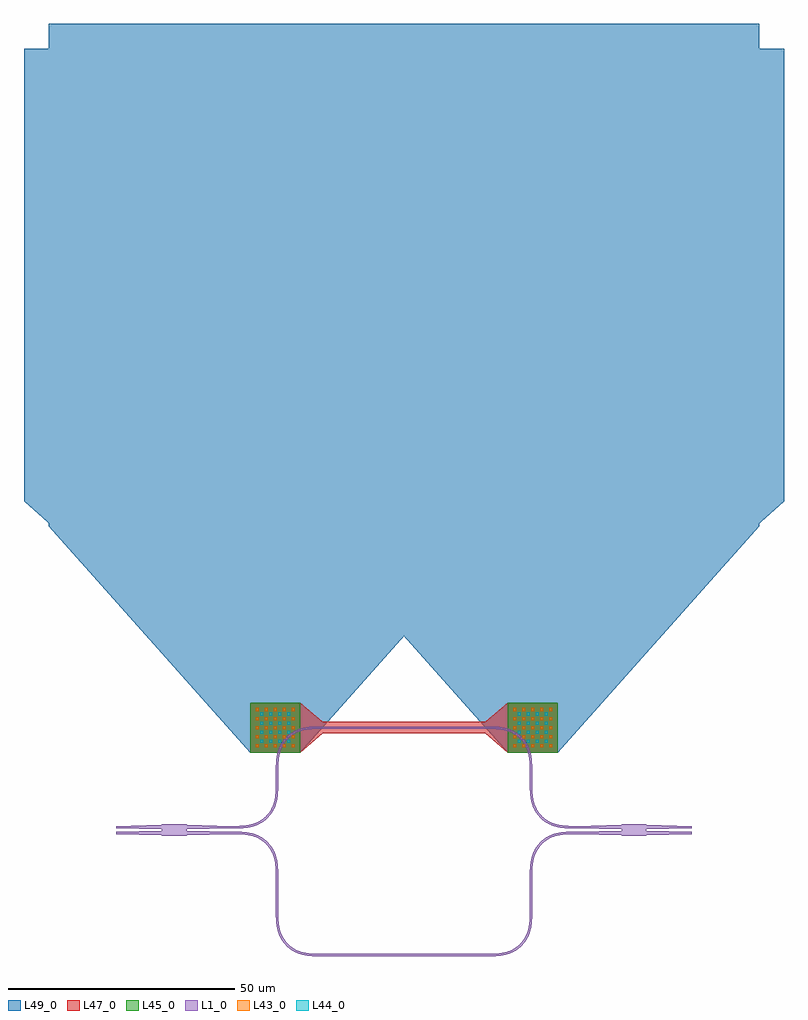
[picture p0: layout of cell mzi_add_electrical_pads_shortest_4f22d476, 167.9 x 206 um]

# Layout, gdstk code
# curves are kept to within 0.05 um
from math import pi, radians
import gdstk
lib = gdstk.Library(unit=1e-6, precision=1e-09)
def R(c, l, rs):  # rectangles x0, y0, x1, y1
    for r in rs: c.add(gdstk.rectangle(r[:2], r[2:], *l))
def P(c, l, *ps):  # polygons
    for p in ps: c.add(gdstk.Polygon(p, *l))
L1_0 = (1, 0)
L43_0 = (43, 0)
L44_0 = (44, 0)
L45_0 = (45, 0)
L47_0 = (47, 0)
L49_0 = (49, 0)

mmi2x2 = lib.new_cell('mmi2x2')
R(mmi2x2, L1_0, [(0,-1.25,5.5,1.25)])
P(mmi2x2, L1_0, [(-10,-0.375),(0,-0.125),(0,-1.125),(-10,-0.875)],
  [(-10,0.875),(0,1.125),(0,0.125),(-10,0.375)],
  [(15.5,0.375),(5.5,0.125),(5.5,1.125),(15.5,0.875)],
  [(15.5,-0.875),(5.5,-1.125),(5.5,-0.125),(15.5,-0.375)])

bend_euler = lib.new_cell('bend_euler')
P(bend_euler, L1_0, [(0,-0.25),(2.795,-0.158),(4.746,0.203),(5.688,0.543),(6.455,0.934),(7.285,1.5),(7.928,2.072),(8.5,2.715),(9.066,3.545),(9.457,4.312),(9.797,5.254),(10.158,7.205),(10.25,10),(9.75,10),(9.647,7.119),(9.48,6.048),(9.194,5.01),(8.495,3.569),(7.575,2.425),(6.431,1.505),(4.99,0.806),(3.952,0.52),(2.881,0.353),(0,0.25)])

straight_length7p0 = lib.new_cell('straight_length7p0')
R(straight_length7p0, L1_0, [(0,-0.25,7,0.25)])

straight_length0p1 = lib.new_cell('straight_length0p1')
R(straight_length0p1, L1_0, [(0,-0.25,0.1,0.25)])

straight_length2p0 = lib.new_cell('straight_length2p0')
R(straight_length2p0, L1_0, [(0,-0.25,2,0.25)])

straight_add_pinsfalse_l = lib.new_cell('straight_add_pinsFalse_length0p1')
R(straight_add_pinsfalse_l, L1_0, [(0,-0.25,0.1,0.25)])

straight_6e0386c1 = lib.new_cell('straight_6e0386c1')
R(straight_6e0386c1, L1_0, [(0,-0.25,17.95,0.25)])
R(straight_6e0386c1, L47_0, [(0,-1.25,17.95,1.25)])

component_sequence_8c6f5 = lib.new_cell('component_sequence_8c6f5426')
component_sequence_8c6f5.add(gdstk.Reference(straight_add_pinsfalse_l, (0,0)))
component_sequence_8c6f5.add(gdstk.Reference(straight_6e0386c1, (0.1,0)))
component_sequence_8c6f5.add(gdstk.Reference(straight_6e0386c1, (18.05,0)))
component_sequence_8c6f5.add(gdstk.Reference(straight_add_pinsfalse_l, (36,0)))

compass_d8224c77 = lib.new_cell('compass_d8224c77')
R(compass_d8224c77, L47_0, [(-5.5,-5.5,5.5,5.5)])

compass_layerm2_size11p0 = lib.new_cell('compass_layerM2_size11p0__11p0')
R(compass_layerm2_size11p0, L45_0, [(-5.5,-5.5,5.5,5.5)])

compass_layermtop_size11 = lib.new_cell('compass_layerMTOP_size11p0__11p0')
R(compass_layermtop_size11, L49_0, [(-5.5,-5.5,5.5,5.5)])

via_enclosure2_layervia1 = lib.new_cell('via_enclosure2_layerVIA1')
R(via_enclosure2_layervia1, L44_0, [(-0.35,-0.35,0.35,0.35)])

via_layervia2 = lib.new_cell('via_layerVIA2')
R(via_layervia2, L43_0, [(-0.35,-0.35,0.35,0.35)])

via_stack_a3b4e43e = lib.new_cell('via_stack_a3b4e43e')
via_stack_a3b4e43e.add(gdstk.Reference(compass_d8224c77, (0,0)))
via_stack_a3b4e43e.add(gdstk.Reference(compass_layerm2_size11p0, (0,0)))
via_stack_a3b4e43e.add(gdstk.Reference(compass_layermtop_size11, (0,0)))
r = gdstk.Reference(via_enclosure2_layervia1, (-3,-3)); r.repetition = gdstk.Repetition(4, 4, v1=(2,0), v2=(0,2)); via_stack_a3b4e43e.add(r)
r = gdstk.Reference(via_layervia2, (-4,-4)); r.repetition = gdstk.Repetition(5, 5, v1=(2,0), v2=(0,2)); via_stack_a3b4e43e.add(r)

taper_23f5216f = lib.new_cell('taper_23f5216f')
P(taper_23f5216f, L47_0, [(0,5.5),(5,1.25),(5,-1.25),(0,-5.5)])

straight_heater_metal_un = lib.new_cell('straight_heater_metal_undercut_7c702180')
straight_heater_metal_un.add(gdstk.Reference(component_sequence_8c6f5, (0,0)))
straight_heater_metal_un.add(gdstk.Reference(via_stack_a3b4e43e, (-10.4,0)))
straight_heater_metal_un.add(gdstk.Reference(via_stack_a3b4e43e, (46.5,0)))
straight_heater_metal_un.add(gdstk.Reference(taper_23f5216f, (-4.9,0)))
straight_heater_metal_un.add(gdstk.Reference(taper_23f5216f, (41,0), rotation=pi))

bend_euler_40ab4dd3 = lib.new_cell('bend_euler_40ab4dd3')
P(bend_euler_40ab4dd3, L1_0, [(0,-0.25),(2.795,-0.158),(4.746,0.203),(5.688,0.543),(6.455,0.934),(7.285,1.5),(7.928,2.072),(8.5,2.715),(9.066,3.545),(9.457,4.312),(9.797,5.254),(10.158,7.205),(10.25,10),(9.75,10),(9.647,7.119),(9.48,6.048),(9.194,5.01),(8.495,3.569),(7.575,2.425),(6.431,1.505),(4.99,0.806),(3.952,0.52),(2.881,0.353),(0,0.25)])

straight_e8b67d3c = lib.new_cell('straight_e8b67d3c')
R(straight_e8b67d3c, L1_0, [(0,-0.25,0.01,0.25)])

straight_299cef3a = lib.new_cell('straight_299cef3a')
R(straight_299cef3a, L1_0, [(0,-0.25,2,0.25)])

straight_840df451 = lib.new_cell('straight_840df451')
R(straight_840df451, L1_0, [(0,-0.25,36.01,0.25)])

straight_533918dc = lib.new_cell('straight_533918dc')
R(straight_533918dc, L1_0, [(0,-0.25,7,0.25)])

mzi_2e88f57c = lib.new_cell('mzi_2e88f57c')
mzi_2e88f57c.add(gdstk.Reference(mmi2x2, (0,0)))
mzi_2e88f57c.add(gdstk.Reference(mmi2x2, (107.12,0), rotation=pi, x_reflection=True))
mzi_2e88f57c.add(gdstk.Reference(bend_euler, (15.5,-0.625), x_reflection=True))
mzi_2e88f57c.add(gdstk.Reference(straight_length7p0, (25.5,-10.625), rotation=3*pi/2))
mzi_2e88f57c.add(gdstk.Reference(bend_euler, (25.5,-17.625), rotation=3*pi/2))
mzi_2e88f57c.add(gdstk.Reference(straight_length0p1, (35.5,-27.625)))
mzi_2e88f57c.add(gdstk.Reference(bend_euler, (15.5,0.625)))
mzi_2e88f57c.add(gdstk.Reference(straight_length2p0, (25.5,10.625), rotation=pi/2))
mzi_2e88f57c.add(gdstk.Reference(bend_euler, (35.5,22.625), rotation=pi))
mzi_2e88f57c.add(gdstk.Reference(straight_heater_metal_un, (35.5,22.625)))
mzi_2e88f57c.add(gdstk.Reference(bend_euler_40ab4dd3, (71.61,22.625), x_reflection=True))
mzi_2e88f57c.add(gdstk.Reference(bend_euler_40ab4dd3, (81.61,10.625), rotation=3*pi/2))
mzi_2e88f57c.add(gdstk.Reference(straight_e8b67d3c, (71.6,22.625)))
mzi_2e88f57c.add(gdstk.Reference(straight_299cef3a, (81.61,12.625), rotation=3*pi/2))
mzi_2e88f57c.add(gdstk.Reference(straight_e8b67d3c, (91.61,0.625)))
mzi_2e88f57c.add(gdstk.Reference(bend_euler_40ab4dd3, (71.61,-27.625)))
mzi_2e88f57c.add(gdstk.Reference(bend_euler_40ab4dd3, (81.61,-10.625), rotation=pi/2, x_reflection=True))
mzi_2e88f57c.add(gdstk.Reference(straight_840df451, (35.6,-27.625)))
mzi_2e88f57c.add(gdstk.Reference(straight_533918dc, (81.61,-17.625), rotation=pi/2))
mzi_2e88f57c.add(gdstk.Reference(straight_e8b67d3c, (91.61,-0.625)))

pad = lib.new_cell('pad')
R(pad, L49_0, [(-50,-50,50,50)])

route_quad_7878978f = lib.new_cell('route_quad_7878978f')
P(route_quad_7878978f, L49_0, [(-30.4,72.625),(69.6,72.625),(19.6,17.125),(19.6,28.125)])

route_quad_c13c2023 = lib.new_cell('route_quad_c13c2023')
P(route_quad_c13c2023, L49_0, [(26.5,72.625),(126.5,72.625),(76.5,17.125),(76.5,28.125)])

route_quad_38d41d28 = lib.new_cell('route_quad_38d41d28')
P(route_quad_38d41d28, L49_0, [(19.6,28.125),(-24.9,78.125),(75.1,78.125),(30.6,28.125)])

route_quad_a7f04c08 = lib.new_cell('route_quad_a7f04c08')
P(route_quad_a7f04c08, L49_0, [(76.5,28.125),(32,78.125),(132,78.125),(87.5,28.125)])

route_quad_b55b0e2b = lib.new_cell('route_quad_b55b0e2b')
P(route_quad_b55b0e2b, L49_0, [(-19.4,72.625),(80.6,72.625),(30.6,28.125),(30.6,17.125)])

route_quad_489266ca = lib.new_cell('route_quad_489266ca')
P(route_quad_489266ca, L49_0, [(37.5,72.625),(137.5,72.625),(87.5,28.125),(87.5,17.125)])

route_quad_0cc905b8 = lib.new_cell('route_quad_0cc905b8')
P(route_quad_0cc905b8, L49_0, [(76.5,17.125),(32,67.125),(132,67.125),(87.5,17.125)])

route_quad_6a658a8b = lib.new_cell('route_quad_6a658a8b')
P(route_quad_6a658a8b, L49_0, [(19.6,17.125),(-24.9,67.125),(75.1,67.125),(30.6,17.125)])

mzi_add_electrical_pads_ = lib.new_cell('mzi_add_electrical_pads_shortest_4f22d476')
mzi_add_electrical_pads_.add(gdstk.Reference(mzi_2e88f57c, (0,0)))
mzi_add_electrical_pads_.add(gdstk.Reference(pad, (19.6,122.625)))
mzi_add_electrical_pads_.add(gdstk.Reference(route_quad_7878978f, (0,0)))
mzi_add_electrical_pads_.add(gdstk.Reference(pad, (76.5,122.625)))
mzi_add_electrical_pads_.add(gdstk.Reference(route_quad_c13c2023, (0,0)))
mzi_add_electrical_pads_.add(gdstk.Reference(pad, (25.1,128.125)))
mzi_add_electrical_pads_.add(gdstk.Reference(route_quad_38d41d28, (0,0)))
mzi_add_electrical_pads_.add(gdstk.Reference(pad, (82,128.125)))
mzi_add_electrical_pads_.add(gdstk.Reference(route_quad_a7f04c08, (0,0)))
mzi_add_electrical_pads_.add(gdstk.Reference(pad, (30.6,122.625)))
mzi_add_electrical_pads_.add(gdstk.Reference(route_quad_b55b0e2b, (0,0)))
mzi_add_electrical_pads_.add(gdstk.Reference(pad, (87.5,122.625)))
mzi_add_electrical_pads_.add(gdstk.Reference(route_quad_489266ca, (0,0)))
mzi_add_electrical_pads_.add(gdstk.Reference(pad, (82,117.125)))
mzi_add_electrical_pads_.add(gdstk.Reference(route_quad_0cc905b8, (0,0)))
mzi_add_electrical_pads_.add(gdstk.Reference(pad, (25.1,117.125)))
mzi_add_electrical_pads_.add(gdstk.Reference(route_quad_6a658a8b, (0,0)))

lib.write_gds('mzi_add_electrical_pads_shortest_4f22d476.gds')
